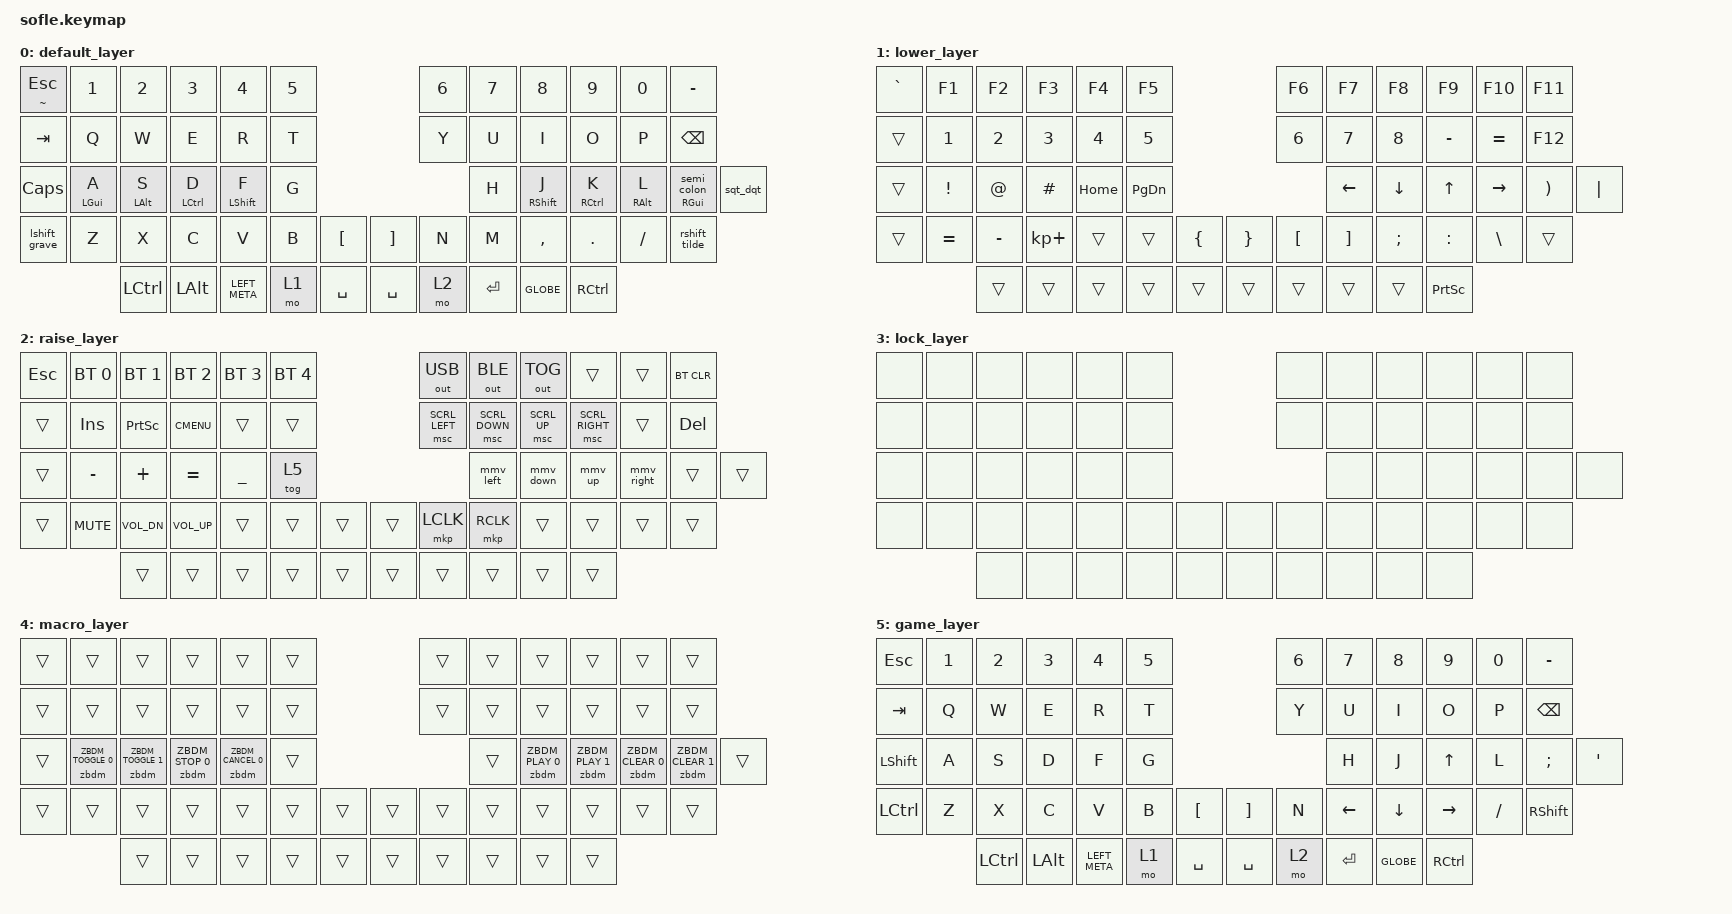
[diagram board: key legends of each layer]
/*
 * Copyright (c) 2020 The ZMK Contributors
 *
 * SPDX-License-Identifier: MIT
 */

#include <behaviors.dtsi>
#include <behaviors/zbdm.dtsi>
#include <dt-bindings/zmk/bt.h>
#include <dt-bindings/zmk/keys.h>
#include <dt-bindings/zmk/mouse.h>
#include <dt-bindings/zmk/outputs.h>
#include <dt-bindings/zmk/zbdm.h>

// Fast mouse movement values (3x default speed)
#define FAST_MOVE_UP    MOVE_Y(-3600)
#define FAST_MOVE_DOWN  MOVE_Y(3600)
#define FAST_MOVE_LEFT  MOVE_X(-3600)
#define FAST_MOVE_RIGHT MOVE_X(3600)

/ {
    behaviors {
        // LSHIFT: при удержании RSHIFT выводит ` (grave)
        lshift_grave: lshift_grave {
            compatible = "zmk,behavior-mod-morph";
            #binding-cells = <0>;
            bindings = <&kp LSHFT>, <&kp GRAVE>;
            mods = <(MOD_RSFT)>;
        };

        // RSHIFT: при удержании LSHIFT выводит ~ (tilde)
        rshift_tilde: rshift_tilde {
            compatible = "zmk,behavior-mod-morph";
            #binding-cells = <0>;
            bindings = <&kp RSHFT>, <&kp TILDE>;
            mods = <(MOD_LSFT)>;
        };

        // ESC tap = Escape, hold = ~ (tilde)
        esc_tilde: esc_tilde {
            compatible = "zmk,behavior-hold-tap";
            #binding-cells = <2>;
            tapping-term-ms = <200>;
            flavor = "tap-preferred";
            bindings = <&kp>, <&kp>;
        };

        // BSPC tap = Backspace, hold = Delete
        bspc_del: bspc_del {
            compatible = "zmk,behavior-hold-tap";
            #binding-cells = <2>;
            tapping-term-ms = <200>;
            flavor = "tap-preferred";
            bindings = <&kp>, <&kp>;
        };

        // Home row mods: tap = буква, hold (200мс, balanced) = модификатор
        hm: home_row_mod {
            compatible = "zmk,behavior-hold-tap";
            #binding-cells = <2>;
            tapping-term-ms = <200>;
            flavor = "balanced";
            bindings = <&kp>, <&kp>;
        };

        // Home row mod для ; (сохраняет tap-dance ;/: на tap)
        hm_semi: hm_semi {
            compatible = "zmk,behavior-hold-tap";
            #binding-cells = <2>;
            tapping-term-ms = <200>;
            flavor = "balanced";
            bindings = <&kp>, <&semi_colon>;
        };

        // ; tap = ;, double-tap = :
        semi_colon: semi_colon {
            compatible = "zmk,behavior-tap-dance";
            #binding-cells = <0>;
            tapping-term-ms = <200>;
            bindings = <&kp SEMI>, <&kp COLON>;
        };

        // ' tap = ', double-tap = "
        sqt_dqt: sqt_dqt {
            compatible = "zmk,behavior-tap-dance";
            #binding-cells = <0>;
            tapping-term-ms = <200>;
            bindings = <&kp SQT>, <&kp DQT>;
        };

        // Lock/Unlock combo: срабатывает только после удержания 2 секунд
        // Вызывается как "&lock_toggle_hold 3 0": 3 передаётся в &tog при удержании, второй параметр для &none игнорируется
        lock_toggle_hold: lock_toggle_hold {
            compatible = "zmk,behavior-hold-tap";
            #binding-cells = <2>;
            tapping-term-ms = <2000>;
            flavor = "hold-preferred";
            bindings = <&tog>, <&none>;
        };

        // Mouse movement with LShift acceleration (3x faster)
        mmv_up: mmv_up {
            compatible = "zmk,behavior-mod-morph";
            #binding-cells = <0>;
            bindings = <&mmv MOVE_UP>, <&mmv FAST_MOVE_UP>;
            mods = <(MOD_LSFT)>;
        };
        mmv_down: mmv_down {
            compatible = "zmk,behavior-mod-morph";
            #binding-cells = <0>;
            bindings = <&mmv MOVE_DOWN>, <&mmv FAST_MOVE_DOWN>;
            mods = <(MOD_LSFT)>;
        };
        mmv_left: mmv_left {
            compatible = "zmk,behavior-mod-morph";
            #binding-cells = <0>;
            bindings = <&mmv MOVE_LEFT>, <&mmv FAST_MOVE_LEFT>;
            mods = <(MOD_LSFT)>;
        };
        mmv_right: mmv_right {
            compatible = "zmk,behavior-mod-morph";
            #binding-cells = <0>;
            bindings = <&mmv MOVE_RIGHT>, <&mmv FAST_MOVE_RIGHT>;
            mods = <(MOD_LSFT)>;
        };
    };

    combos {
        compatible = "zmk,combos";

        // Крайние нижние клавиши (LCTRL+RCTRL), удержание 2с → Lock (блокировка клавиатуры)
        combo_lock {
            timeout-ms = <300>;
            key-positions = <50 59>;       // LCTRL=50, RCTRL=59
            bindings = <&lock_toggle_hold 3 0>;  // Toggle layer 3 (lock) после удержания 2с
            layers = <0>;                  // Только на default слое (блокировка)
        };

        // Крайние верхние клавиши (ESC/~+MINUS), удержание 2с → Unlock (разблокировка клавиатуры)
        combo_unlock {
            timeout-ms = <300>;
            key-positions = <0 11>;        // ESC/~=0, MINUS=11
            bindings = <&lock_toggle_hold 3 0>;  // Toggle layer 3 (unlock) после удержания 2с
            layers = <3>;                  // Только на lock слое (разблокировка)
        };

        // ALT + BSPC → Delete word (удалить слово назад)
        combo_delete_word {
            timeout-ms = <50>;
            key-positions = <23 51>;  // BSPC=23, ALT=51
            bindings = <&kp LA(BSPC)>;  // Option(Alt) + Backspace
            layers = <0>;
        };

        // MO1(53) + MO2(56) → Toggle macro layer (4)
        combo_macro_toggle {
            timeout-ms = <200>;
            key-positions = <53 56>;  // MO1=53, MO2=56
            bindings = <&tog 4>;
            layers = <0 4>;
        };

        // MO1(53) + MO2(56) → выход из игрового слоя (5)
        // Нужен отдельным комбо: слой 5 выше Raise(2), поэтому Raise+G на слое 5 не достать
        combo_game_exit {
            timeout-ms = <200>;
            key-positions = <53 56>;  // MO1=53, MO2=56
            bindings = <&tog 5>;
            layers = <5>;
        };
    };

    keymap {
        compatible = "zmk,keymap";

        default_layer {
            // ------------------------------------------------------------------------------------------------------------
            // Индексы клавиш (default):
            //
            //   0  ESC/~ 1  1    2  2    3  3    4  4    5  5            6  6    7  7    8  8    9  9    10 0    11 -
            //  12  TAB  13 Q   14 W   15 E   16 R   17 T           18 Y   19 U   20 I   21 O   22 P   23 ⌫  (DEL = Raise+⌫)
            //  24 CAPS  25 A/GUI 26 S/ALT 27 D/CTRL 28 F/SHIFT 29 G      30 H   31 J/SHIFT 32 K/CTRL 33 L/ALT 34 ;/GUI  35 '/"
            //  36 ⇧/`   37 Z   38 X   39 C   40 V   41 B   42 [  43 ]    44 N   45 M   46 ,   47 .   48 /   49 ⇧/~
            //             50 CTRL  51 ALT  52 GUI  53 MO1  54 SPC     55 SPC   56 MO2  57 ENT  58 Fn   59 RCTRL
            // ------------------------------------------------------------------------------------------------------------
            // Hold-Tap:     ESC: tap=Esc, hold=~
            // Home row mods (200мс, balanced): A/;=GUI  S/L=ALT  D/K=CTRL  F/J=SHIFT (tap=буква)
            // Tap-Dance:    ;: tap=;, 2tap=:         ': tap=', 2tap="
            // Combos:       LCTRL+RCTRL (удержание 2с)=Lock
            // ------------------------------------------------------------------------------------------------------------

            bindings = <
&esc_tilde TILDE ESCAPE  &kp N1  &kp N2            &kp N3        &kp N4         &kp N5                                         &kp N6  &kp N7     &kp N8        &kp N9             &kp N0    &kp MINUS
&kp TAB                  &kp Q   &kp W             &kp E         &kp R          &kp T                                          &kp Y   &kp U      &kp I         &kp O              &kp P     &kp BSPC
&kp CAPSLOCK             &hm LGUI A  &hm LALT S    &hm LCTRL D   &hm LSHFT F    &kp G                                          &kp H   &hm RSHFT J  &hm RCTRL K  &hm RALT L         &hm_semi RGUI 0  &sqt_dqt
&lshift_grave            &kp Z   &kp X             &kp C         &kp V          &kp B   &kp LEFT_BRACKET    &kp RIGHT_BRACKET  &kp N   &kp M      &kp COMMA     &kp DOT            &kp FSLH  &rshift_tilde
                                 &kp LEFT_CONTROL  &kp LEFT_ALT  &kp LEFT_META  &mo 1   &kp SPACE           &kp SPACE          &mo 2   &kp ENTER  &kp GLOBE     &kp RIGHT_CONTROL
            >;
        };

        lower_layer {
            // ------------------------------------------------------------------------------------------------------------
            // Индексы клавиш (lower):
            //
            //   0  `    1  F1   2  F2   3  F3   4  F4   5  F5           6  F6   7  F7   8  F8   9  F9   10 F10   11 F11
            //  12 TR   13 1    14 2    15 3    16 4    17 5          18 6    19 7    20 8    21 -    22 =    23 F12
            //  24 TR   25 !    26 @    27 #    28 HOME 29 PGDWN      30 ←    31 ↓    32 ↑    33 →    34 )    35 |
            //  36 TR   37 =    38 -    39 +    40 TR   41 TR  42 [  43 ]    44 [    45 ]    46 ;    47 :    48 \    49 TR
            //             50 TR   51 TR   52 TR   53 TR   54 TR      55 TR   56 TR   57 TR   58 TR   59 PRSC
            // ------------------------------------------------------------------------------------------------------------

            bindings = <
&kp GRAVE  &kp F1     &kp F2     &kp F3       &kp F4    &kp F5                               &kp F6    &kp F7    &kp F8        &kp F9           &kp F10    &kp F11
&trans     &kp N1     &kp N2     &kp N3       &kp N4    &kp N5                               &kp N6    &kp N7    &kp N8        &kp MINUS        &kp EQUAL  &kp F12
&trans     &kp EXCL   &kp AT     &kp HASH     &kp HOME  &kp PAGE_DOWN                        &kp LEFT  &kp DOWN  &kp UP_ARROW  &kp RIGHT        &kp RPAR   &kp PIPE
&trans     &kp EQUAL  &kp MINUS  &kp KP_PLUS  &trans    &trans         &kp LBRC    &kp RBRC  &kp LBKT  &kp RBKT  &kp SEMI      &kp COLON        &kp BSLH   &trans
                      &trans     &trans       &trans    &trans         &trans      &trans    &trans    &trans    &trans        &kp PRINTSCREEN
            >;
        };

        raise_layer {
            // ------------------------------------------------------------------------------------------------------------
            // Индексы клавиш (raise):
            //
            //   0 ESC   1 BT1  2 BT2  3 BT3  4 BT4  5 BT5           6 OUTU 7 OUTB 8 OUTT 9 TR  10 TR  11 BTCLR
            //  12 TR   13 INS 14 PSCR 15 MENU 16 TR  17 TR         18 SCR← 19 SCR↓ 20 SCR↑ 21 SCR→ 22 TR   23 DEL
            //  24 TR   25 -   26 +   27 =   28 _   29 GAME         30 M←   31 M↓   32 M↑   33 M→   34 TR   35 TR
            //  36 TR   37 MUTE 38 V-  39 V+  40 TR  41 TR  42 TR  43 TR   44 LCK  45 RCK  46 TR   47 TR   48 TR   49 TR
            //             50 TR   51 TR   52 TR   53 TR   54 TR    55 TR   56 TR   57 TR   58 TR   59 TR
            // ------------------------------------------------------------------------------------------------------------
            // Mouse: LShift = 3x faster movement
            // GAME (pos 29, G) = toggle game layer (5); same key turns it off

            bindings = <
&kp ESC     &bt BT_SEL 0  &bt BT_SEL 1  &bt BT_SEL 2  &bt BT_SEL 3  &bt BT_SEL 4                    &out OUT_USB  &out OUT_BLE  &out OUT_TOG  &trans  &trans  &bt BT_CLR
&trans      &kp INS       &kp PSCRN     &kp K_CMENU   &trans        &trans                          &msc SCRL_LEFT  &msc SCRL_DOWN  &msc SCRL_UP  &msc SCRL_RIGHT  &trans  &kp DEL
&trans      &kp MINUS     &kp PLUS      &kp EQUAL     &kp UNDER     &tog 5                          &mmv_left  &mmv_down  &mmv_up  &mmv_right  &trans  &trans
&trans      &kp C_MUTE    &kp C_VOL_DN  &kp C_VOL_UP  &trans        &trans        &trans    &trans  &mkp LCLK       &mkp RCLK       &trans        &trans  &trans  &trans
                          &trans        &trans        &trans        &trans        &trans    &trans  &trans        &trans        &trans        &trans
            >;
        };

        lock_layer {
            // ------------------------------------------------------------------------------------------------------------
            // LOCK LAYER - все клавиши отключены, кроме unlock комбо
            // Блокировка:    LCTRL(50) + RCTRL(59), удержание 2с (только из default layer)
            // Разблокировка: ESC/~(0) + MINUS(11), удержание 2с (только из lock layer)
            // ------------------------------------------------------------------------------------------------------------

            bindings = <
&none  &none  &none  &none  &none  &none                  &none  &none  &none  &none  &none  &none
&none  &none  &none  &none  &none  &none                  &none  &none  &none  &none  &none  &none
&none  &none  &none  &none  &none  &none                  &none  &none  &none  &none  &none  &none
&none  &none  &none  &none  &none  &none  &none    &none  &none  &none  &none  &none  &none  &none
       &none  &none  &none  &none  &none    &none  &none  &none  &none  &none
            >;
        };

        macro_layer {
            // ------------------------------------------------------------------------------------------------------------
            // MACRO LAYER (4) - динамическая запись/воспроизведение макросов
            // Включение:   комбо MO1(53)+MO2(56) → toggle layer 4
            // Выключение:  то же комбо или &trans обратно в default
            //
            // Home row:    A=REC0, S=REC1, D=STOP, F=CANCEL
            //              J=PLAY0, K=PLAY1, L=CLEAR0, ;=CLEAR1
            // Остальное:   &trans (прозрачно к default слою)
            // ------------------------------------------------------------------------------------------------------------

            bindings = <
&trans  &trans  &trans  &trans  &trans  &trans                    &trans  &trans  &trans  &trans  &trans  &trans
&trans  &trans  &trans  &trans  &trans  &trans                    &trans  &trans  &trans  &trans  &trans  &trans
&trans  &zbdm ZBDM_TOGGLE 0  &zbdm ZBDM_TOGGLE 1  &zbdm ZBDM_STOP 0  &zbdm ZBDM_CANCEL 0  &trans    &trans  &zbdm ZBDM_PLAY 0  &zbdm ZBDM_PLAY 1  &zbdm ZBDM_CLEAR 0  &zbdm ZBDM_CLEAR 1  &trans
&trans  &trans  &trans  &trans  &trans  &trans  &trans  &trans  &trans  &trans  &trans  &trans  &trans  &trans
                       &trans  &trans  &trans  &trans  &trans      &trans  &trans  &trans  &trans  &trans
            >;
        };

        game_layer {
            // ------------------------------------------------------------------------------------------------------------
            // GAME LAYER (5) - обычный QWERTY без home-row mods, hold-tap и tap-dance (нулевая задержка)
            // Включение: Raise (MO2) + G (pos 29) → toggle layer 5
            // Выход: комбо MO1(53)+MO2(56) → toggle layer 5 (Raise+G на слое 5 не работает: слой 5 выше Raise)
            // MO1/MO2 остаются на местах (стрелки/F-keys); lock-комбо и macro-комбо здесь не срабатывают.
            // Стрелки «перевёрнутой T»: ↑ = K (pos 32), ← ↓ → = M , . (pos 45/46/47).
            // Отличия от default: ESC без hold, LSHIFT(24, на месте CAPS), LCTRL(36, левый нижний угол), ;/' без tap-dance
            // ------------------------------------------------------------------------------------------------------------

            bindings = <
&kp ESC     &kp N1  &kp N2            &kp N3        &kp N4         &kp N5                                         &kp N6  &kp N7     &kp N8        &kp N9             &kp N0    &kp MINUS
&kp TAB     &kp Q   &kp W             &kp E         &kp R          &kp T                                          &kp Y   &kp U      &kp I         &kp O              &kp P     &kp BSPC
&kp LSHFT   &kp A   &kp S             &kp D         &kp F          &kp G                                          &kp H   &kp J      &kp UP_ARROW  &kp L                 &kp SEMI  &kp SQT
&kp LCTRL   &kp Z   &kp X             &kp C         &kp V          &kp B   &kp LEFT_BRACKET    &kp RIGHT_BRACKET  &kp N   &kp LEFT   &kp DOWN      &kp RIGHT          &kp FSLH  &kp RSHFT
                    &kp LEFT_CONTROL  &kp LEFT_ALT  &kp LEFT_META  &mo 1   &kp SPACE           &kp SPACE          &mo 2   &kp ENTER  &kp GLOBE     &kp RIGHT_CONTROL
            >;
        };
    };
};
